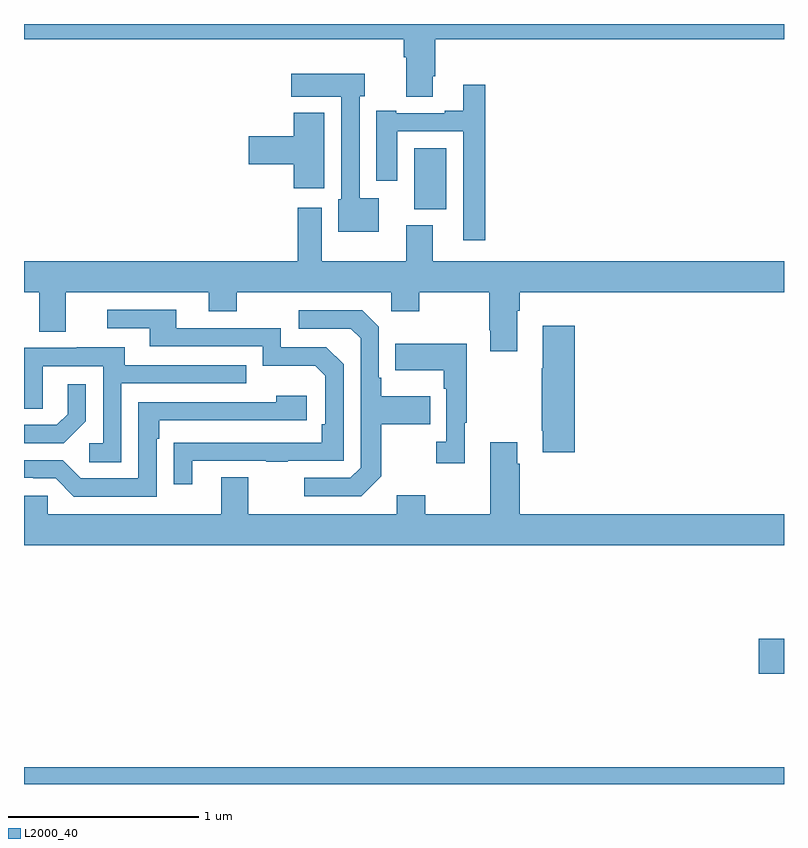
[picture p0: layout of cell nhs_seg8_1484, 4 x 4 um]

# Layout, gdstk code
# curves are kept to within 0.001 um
import gdstk
lib = gdstk.Library(unit=1e-6, precision=1e-09)
def R(c, l, rs):  # rectangles x0, y0, x1, y1
    for r in rs: c.add(gdstk.rectangle(r[:2], r[2:], *l))
def P(c, l, *ps):  # polygons
    for p in ps: c.add(gdstk.Polygon(p, *l))
L2000_40 = (2000, 40)

nhs_seg8_1484 = lib.new_cell('nhs_seg8_1484')
R(nhs_seg8_1484, L2000_40, [(205,1125.9,209,1125.988), (208.866,1126.481,209,1126.664), (207.053,1128.926,207.223,1129.246)])
P(nhs_seg8_1484, L2000_40, [(207.151,1129.624),(207.164,1129.624),(207.164,1129.82),(209,1129.82),(209,1129.9),(205,1129.9),(205,1129.82),(206.999,1129.82),(206.999,1129.724),(207.011,1129.724),(207.011,1129.516),(207.151,1129.516)],
  [(206.866,1128.982),(206.766,1128.982),(206.766,1129.521),(206.794,1129.521),(206.794,1129.639),(206.406,1129.639),(206.406,1129.517),(206.67,1129.517),(206.67,1128.978),(206.654,1128.978),(206.654,1128.806),(206.866,1128.806)],
  [(207.428,1129.579),(207.311,1129.579),(207.311,1129.444),(207.215,1129.444),(207.215,1129.431),(206.959,1129.431),(206.959,1129.444),(206.855,1129.444),(206.855,1129.074),(206.965,1129.074),(206.965,1129.335),(207.312,1129.335),(207.312,1128.762),(207.428,1128.762)],
  [(206.581,1129.432),(206.42,1129.432),(206.42,1129.31),(206.184,1129.31),(206.184,1129.163),(206.42,1129.163),(206.42,1129.035),(206.581,1129.035)],
  [(207.595,1128.392),(207.608,1128.392),(207.608,1128.488),(209,1128.488),(209,1128.652),(207.151,1128.652),(207.151,1128.841),(207.011,1128.841),(207.011,1128.652),(206.566,1128.652),(206.566,1128.934),(206.441,1128.934),(206.441,1128.652),(205,1128.652),(205,1128.488),(205.079,1128.488),(205.079,1128.28),(205.219,1128.28),(205.219,1128.488),(205.973,1128.488),(205.973,1128.389),(206.121,1128.389),(206.121,1128.488),(206.934,1128.488),(206.934,1128.389),(207.081,1128.389),(207.081,1128.488),(207.448,1128.488),(207.448,1128.289),(207.455,1128.289),(207.455,1128.177),(207.595,1128.177)],
  [(205.885,1127.601),(206.275,1127.601),(206.275,1127.596),(206.387,1127.596),(206.387,1127.601),(206.682,1127.601),(206.682,1128.108),(206.592,1128.198),(206.352,1128.198),(206.352,1128.3),(205.801,1128.3),(205.801,1128.396),(205.437,1128.396),(205.437,1128.3),(205.661,1128.3),(205.661,1128.204),(206.256,1128.204),(206.256,1128.101),(206.533,1128.101),(206.586,1128.048),(206.586,1127.794),(206.566,1127.794),(206.566,1127.697),(205.789,1127.696),(205.789,1127.478),(205.885,1127.478)],
  [(206.881,1127.521),(206.881,1127.794),(207.137,1127.794),(207.137,1127.941),(206.881,1127.941),(206.881,1128.037),(206.868,1128.037),(206.868,1128.306),(206.781,1128.393),(206.445,1128.393),(206.445,1128.297),(206.721,1128.297),(206.772,1128.246),(206.772,1127.565),(206.718,1127.511),(206.475,1127.511),(206.475,1127.415),(206.775,1127.415)],
  [(207.899,1128.313),(207.731,1128.313),(207.731,1128.089),(207.724,1128.089),(207.724,1127.758),(207.731,1127.758),(207.731,1127.646),(207.899,1127.646)],
  [(207.319,1127.801),(207.331,1127.801),(207.331,1128.217),(206.953,1128.217),(206.953,1128.077),(207.21,1128.077),(207.21,1127.981),(207.222,1127.981),(207.222,1127.702),(207.171,1127.702),(207.171,1127.589),(207.319,1127.589)],
  [(205.512,1128.009),(206.171,1128.009),(206.171,1128.105),(205.531,1128.105),(205.531,1128.199),(205.277,1128.199),(205.277,1128.195),(205,1128.195),(205,1127.875),(205.098,1127.875),(205.098,1128.099),(205.416,1128.099),(205.416,1127.694),(205.344,1127.694),(205.344,1127.593),(205.512,1127.593)],
  [(205.326,1127.81),(205.326,1128.004),(205.229,1128.004),(205.229,1127.847),(205.172,1127.79),(205,1127.79),(205,1127.694),(205.21,1127.694)],
  [(205.698,1127.717),(205.711,1127.717),(205.711,1127.814),(206.488,1127.814),(206.488,1127.944),(206.327,1127.944),(206.327,1127.91),(205.602,1127.91),(205.602,1127.508),(205.299,1127.508),(205.203,1127.604),(205,1127.604),(205,1127.511),(205.049,1127.511),(205.049,1127.508),(205.167,1127.508),(205.263,1127.412),(205.698,1127.412)],
  [(209,1127.32),(207.608,1127.32),(207.608,1127.585),(207.595,1127.585),(207.595,1127.698),(207.455,1127.698),(207.455,1127.32),(207.111,1127.32),(207.111,1127.419),(206.963,1127.419),(206.963,1127.32),(206.179,1127.32),(206.179,1127.515),(206.039,1127.515),(206.039,1127.32),(205.125,1127.32),(205.125,1127.418),(205,1127.418),(205,1127.156),(209,1127.156)])

lib.write_gds('nhs_seg8_1484.gds')
